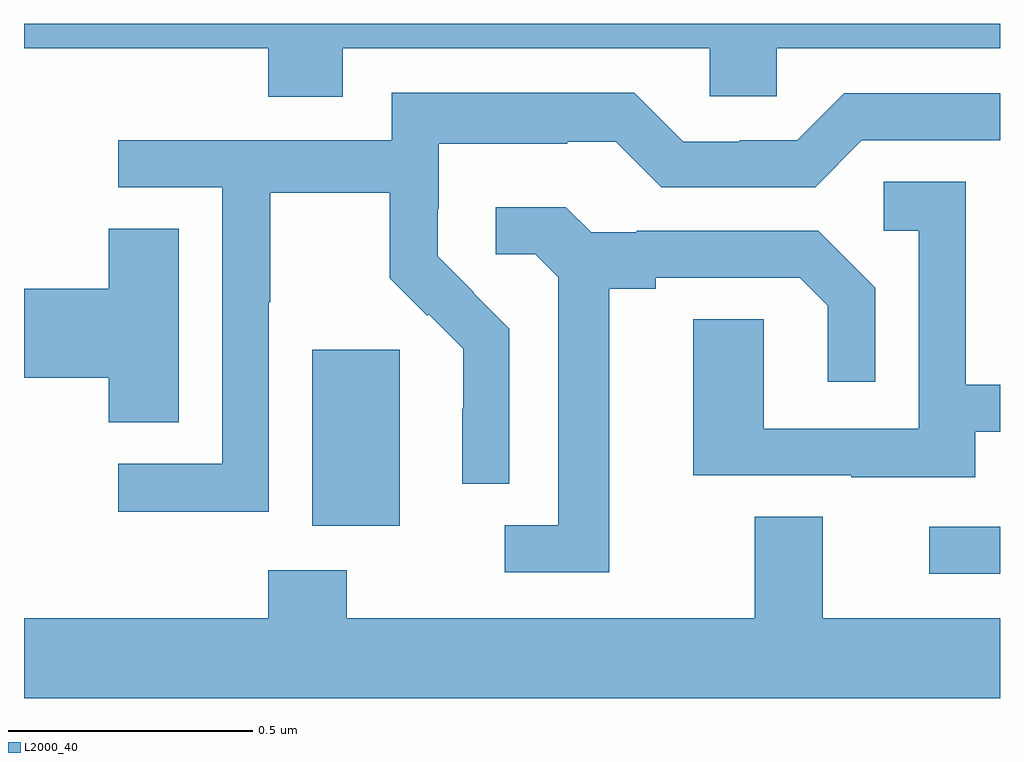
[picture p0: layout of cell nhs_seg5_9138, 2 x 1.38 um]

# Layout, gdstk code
import gdstk
lib = gdstk.Library(unit=1e-6, precision=1e-09)
def R(c, l, rs):  # rectangles x0, y0, x1, y1
    for r in rs: c.add(gdstk.rectangle(r[:2], r[2:], *l))
def P(c, l, *ps):  # polygons
    for p in ps: c.add(gdstk.Polygon(p, *l))
L2000_40 = (2000, 40)

nhs_seg5_9138 = lib.new_cell('nhs_seg5_9138')
R(nhs_seg5_9138, L2000_40, [(231.855,867.672,232,867.768), (230.591,867.77,230.77,868.131)])
P(nhs_seg5_9138, L2000_40, [(230.653,868.748),(231.405,868.748),(231.405,868.65),(231.543,868.65),(231.543,868.748),(232,868.748),(232,868.799),(230,868.799),(230,868.748),(230.501,868.748),(230.501,868.649),(230.653,868.649)],
  [(230.502,868.228),(230.505,868.228),(230.505,868.452),(230.749,868.452),(230.749,868.277),(230.826,868.2),(230.829,868.203),(230.9,868.133),(230.9,868.01),(230.898,868.01),(230.898,867.856),(230.994,867.856),(230.994,868.174),(230.921,868.247),(230.922,868.248),(230.848,868.322),(230.848,868.419),(230.85,868.419),(230.85,868.553),(231.113,868.553),(231.113,868.557),(231.213,868.557),(231.306,868.464),(231.621,868.464),(231.717,868.56),(232,868.56),(232,868.656),(231.681,868.656),(231.585,868.56),(231.467,868.56),(231.467,868.557),(231.351,868.557),(231.251,868.657),(230.754,868.657),(230.754,868.56),(230.193,868.56),(230.193,868.464),(230.406,868.464),(230.406,867.897),(230.193,867.897),(230.193,867.799),(230.502,867.799)],
  [(231.949,867.963),(232,867.963),(232,868.059),(231.93,868.059),(231.93,868.475),(231.762,868.475),(231.762,868.374),(231.834,868.374),(231.834,867.969),(231.516,867.969),(231.516,868.193),(231.371,868.193),(231.371,867.873),(231.695,867.873),(231.695,867.869),(231.949,867.869)],
  [(231.199,868.256),(231.295,868.256),(231.295,868.278),(231.59,868.278),(231.647,868.221),(231.647,868.065),(231.744,868.065),(231.744,868.258),(231.628,868.374),(231.256,868.374),(231.256,868.371),(231.162,868.371),(231.11,868.423),(230.967,868.423),(230.967,868.326),(231.048,868.326),(231.095,868.279),(231.095,867.771),(230.985,867.771),(230.985,867.675),(231.199,867.675)],
  [(230.317,868.379),(230.174,868.379),(230.174,868.256),(230,868.256),(230,868.073),(230.174,868.073),(230.174,867.982),(230.317,867.982)],
  [(232,867.58),(231.637,867.58),(231.637,867.788),(231.497,867.788),(231.497,867.58),(230.661,867.58),(230.661,867.679),(230.501,867.679),(230.501,867.58),(230,867.58),(230,867.416),(232,867.416)])

lib.write_gds('nhs_seg5_9138.gds')
